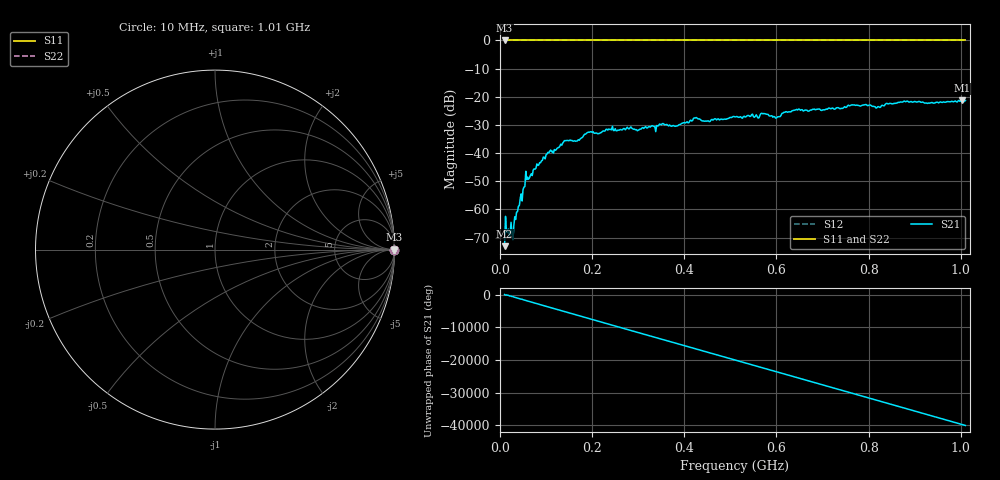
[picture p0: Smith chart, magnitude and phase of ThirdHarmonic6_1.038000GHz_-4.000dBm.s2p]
! 8/16/2025 8:58:03 AM
! C:\ANRITSUVNA\TEMP\TEMP.S2P
! CHANNEL.1
! TR.MEASUREMENT
! RAW.DATA
! RF.CORRECTION.OFF
! AVERAGING.OFF
! IF.BANDWIDTH: 5KHZ
! SWEEPTYPE:  FREQ.SWEEP(Linear)
! Reference Plane Port Info
! PORT:  PORT1  PORT2
! DISTANCE:  0  m  0  m
! TIME:  0  s  0  s
! PHASE.OFFSET:  0  deg.  0  deg.
! LOSS:  0  dB  0  dB
! REF.LOSS:  0  dB  0  dB
! REF.FREQ:  0  Hz  0  Hz
! Power Info
! POWER:  -20  dBm  -20  dBm
! EFF.POWER:  -20  dBm  -20  dBm
! SOURCE.ATTEN:  0  dB  0  dB
! TEST.ATTEN:  0  dB  0  dB
# GHZ S RI R 50.0
! FREQ.GHZ  S11RE  S11IM  S21RE  S21IM  S12RE  S12IM  S22RE  S22IM
!; PortSelection: Port_12
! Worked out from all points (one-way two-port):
!   501 points, 10 MHz to 1.01 GHz, reference 50 ohm
!   highest |S21| = -21.20 dB at 1.002 GHz (marker M1); lowest = -73.0 dB at 10 MHz (marker M2)
!   lowest |S11| = 0.0 dB at 10 MHz (marker M3)
!   |S11| at or under -10 dB: nowhere
!   |S22| runs from 0.0 to 0.0 dB; largest |S21 - S12| = 1.1
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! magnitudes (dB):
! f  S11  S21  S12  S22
! 10 MHz  0.0  -73.0  0.0  0.0
! 16 MHz  0.0  -68.3  0.0  0.0
! 24 MHz  0.0  -64.6  0.0  0.0
! 30 MHz  0.0  -65.8  0.0  0.0
! 54 MHz  0.0  -51.9  0.0  0.0
! 60 MHz  0.0  -48.6  0.0  0.0
! 106 MHz  0.0  -39.9  0.0  0.0
! 142 MHz  0.0  -35.6  0.0  0.0
! 178 MHz  0.0  -34.5  0.0  0.0
! 194 MHz  0.0  -32.6  0.0  0.0
! 344 MHz  0.0  -30.3  0.0  0.0
! 382 MHz  0.0  -30.4  0.0  0.0
! 424 MHz  0.0  -27.5  0.0  0.0
! 452 MHz  0.0  -28.5  0.0  0.0
! 510 MHz  0.0  -27.1  0.0  0.0
! 570 MHz  0.0  -26.0  0.0  0.0
! 602 MHz  0.0  -27.1  0.0  0.0
! 640 MHz  0.0  -24.7  0.0  0.0
! 678 MHz  0.0  -24.5  0.0  0.0
! 844 MHz  0.0  -22.5  0.0  0.0
! 1.002 GHz  0.0  -21.2  0.0  0.0
! 1.01 GHz  0.0  -21.3  0.0  0.0
